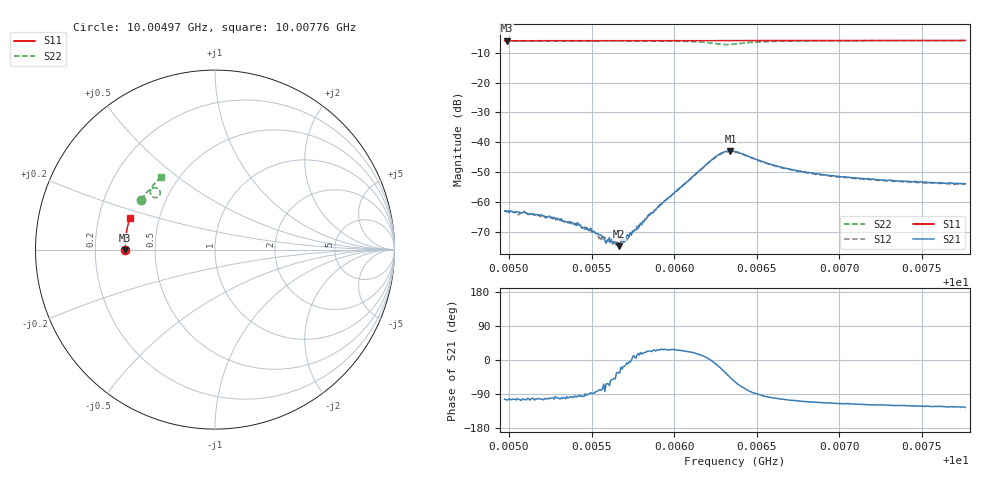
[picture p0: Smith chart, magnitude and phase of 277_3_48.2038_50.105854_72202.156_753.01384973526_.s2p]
#  HZ  S  RI  R  50.00
! Rohde & Schwarz Vector Network Analyzer
! Rohde-Schwarz,ZNB20-2Port,1311601062101988,3.16
! Created: UTC 3/20/2024, 11:48:31 AM
! freq[Hz]  re:S11  im:S11  re:S21  im:S21  re:S12  im:S12  re:S22  im:S22
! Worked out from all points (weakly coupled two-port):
!   401 points, 10.00497 GHz to 10.00776 GHz, reference 50 ohm
!   highest |S21| = -42.85 dB at 10.00634 GHz (marker M1); lowest = -74.7 dB at 10.00566 GHz (marker M2)
!   lowest |S11| = -6.0 dB at 10.00499 GHz (marker M3), VSWR 3.00, Z = 16.7 - j0.129 ohm
!   |S11| at or under -10 dB: nowhere
!   |S22| runs from -7.3 to -6.0 dB; largest |S21 - S12| = 0.00043
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1.0004973e10  -0.4996 -0.00383  -0.000166 -0.000694  -0.000163 -0.000708  -0.4101 0.2765
1.0004987e10  -0.4994 -0.00289  -0.000188 -0.000674  -0.00014 -0.000674  -0.4095 0.2773
1.0005099e10  -0.4997 0.00435  -0.000164 -0.00064  -0.0001 -0.000666  -0.4055 0.284
1.0005246e10  -0.5 0.0138  -0.000106 -0.000574  -9.35e-05 -0.00056  -0.3997 0.2925
1.0005413e10  -0.4998 0.0248  -4.91e-05 -0.000455  -4.94e-05 -0.00042  -0.3928 0.3026
1.0005441e10  -0.4999 0.0266  -4.06e-05 -0.000367  -2.71e-06 -0.000386  -0.3914 0.3042
1.0005504e10  -0.4996 0.0306  9.1e-06 -0.000324  4.37e-05 -0.000292  -0.3886 0.308
1.0005546e10  -0.4996 0.0334  5.84e-05 -0.000281  3.07e-05 -0.000243  -0.3866 0.3106
1.000558e10  -0.4994 0.0356  2.69e-05 -0.000229  9.52e-05 -0.000245  -0.3849 0.3127
1.0005601e10  -0.4994 0.0371  0.000104 -0.000208  0.000104 -0.000196  -0.3838 0.3142
1.0005664e10  -0.4992 0.041  0.000152 -0.000103  0.000193 -8.48e-05  -0.3805 0.3179
1.0005706e10  -0.4989 0.0438  0.000232 -5.58e-05  0.000238 -1.41e-05  -0.3782 0.3206
1.0005839e10  -0.4985 0.0524  0.000524 0.000222  0.000514 0.000231  -0.3696 0.3292
1.0005908e10  -0.4982 0.0568  0.00075 0.000382  0.000767 0.000422  -0.3641 0.3339
1.0006243e10  -0.4953 0.0784  0.00549 -0.000702  0.00538 -0.000421  -0.308 0.3293
1.0006292e10  -0.4948 0.0813  0.00607 -0.00291  0.00608 -0.00259  -0.3057 0.3092
1.0006341e10  -0.4944 0.0841  0.00493 -0.00524  0.00508 -0.00486  -0.3195 0.2921
1.0006369e10  -0.4944 0.0858  0.00373 -0.00594  0.00395 -0.00566  -0.3311 0.2892
1.0006599e10  -0.4926 0.1006  -0.000737 -0.00411  -0.000533 -0.00409  -0.3599 0.3276
1.0006836e10  -0.4898 0.1156  -0.00111 -0.00287  -0.000952 -0.00285  -0.3497 0.3515
1.0007304e10  -0.4829 0.1452  -0.00115 -0.00202  -0.00101 -0.00201  -0.3262 0.3801
1.0007764e10  -0.4744 0.1735  -0.00117 -0.00166  -0.00104 -0.00171  -0.3029 0.4018
